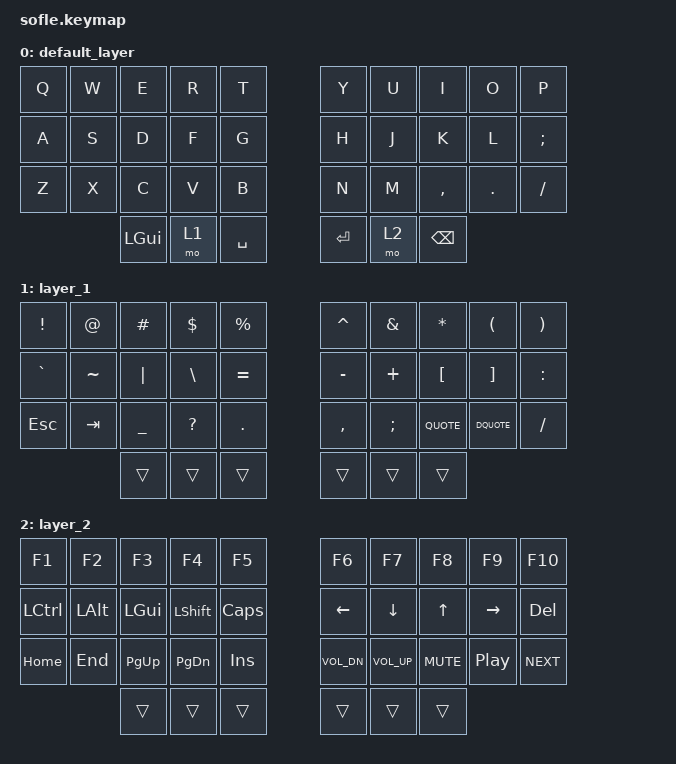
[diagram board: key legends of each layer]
/ {
    keymap {
        compatible = "zmk,keymap";

        default_layer {
            bindings = <
&kp Q    &kp W    &kp E    &kp R    &kp T       &kp Y    &kp U    &kp I    &kp O    &kp P
&kp A    &kp S    &kp D    &kp F    &kp G       &kp H    &kp J    &kp K    &kp L    &kp SEMI
&kp Z    &kp X    &kp C    &kp V    &kp B       &kp N    &kp M    &kp COMMA &kp DOT &kp SLASH
                    &kp LGUI &mo 1 &kp SPACE   &kp ENTER &mo 2 &kp BSPC
            >;
        };

        layer_1 { // symbols
            bindings = <
&kp EXCL &kp AT   &kp HASH &kp DLLR &kp PRCNT    &kp CARET &kp AMPS &kp STAR &kp LPAR &kp RPAR
&kp GRAVE &kp TILDE &kp PIPE &kp BACKSLASH &kp EQUAL  &kp MINUS &kp PLUS &kp LBKT &kp RBKT &kp COLON
&kp ESC   &kp TAB   &kp UNDERSCORE &kp QUESTION &kp DOT   &kp COMMA &kp SEMI &kp QUOTE &kp DQUOTE &kp SLASH
                    &trans &trans &trans        &trans &trans &trans
            >;
        };

        layer_2 { // navigation
            bindings = <
&kp F1 &kp F2 &kp F3 &kp F4 &kp F5     &kp F6 &kp F7 &kp F8 &kp F9 &kp F10
&kp LCTRL &kp LALT &kp LGUI &kp LSHIFT &kp CAPS  &kp LEFT &kp DOWN &kp UP &kp RIGHT &kp DEL
&kp HOME &kp END &kp PG_UP &kp PG_DN &kp INS     &kp C_VOL_DN &kp C_VOL_UP &kp C_MUTE &kp C_PLAY_PAUSE &kp C_NEXT
                    &trans &trans &trans        &trans &trans &trans
            >;
        };
    };
};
